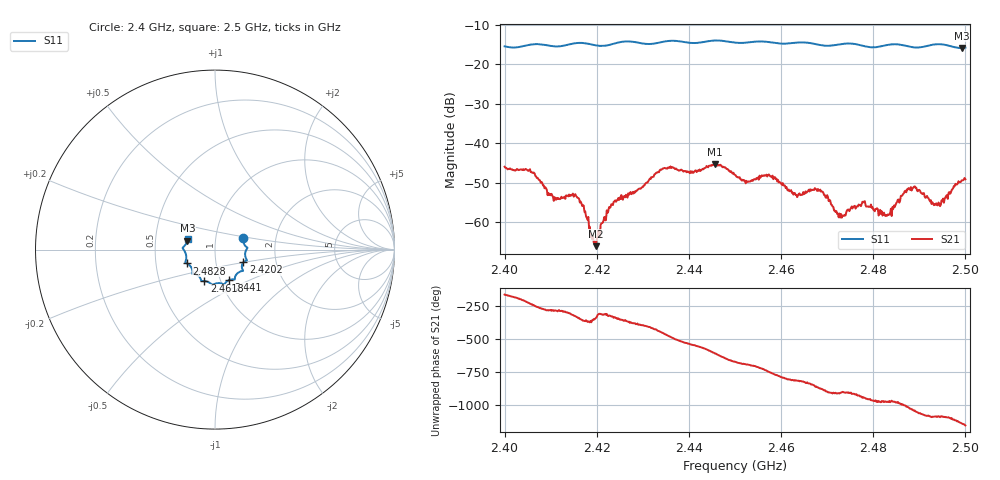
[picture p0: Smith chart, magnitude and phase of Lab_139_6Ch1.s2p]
# Hz S RI R 50
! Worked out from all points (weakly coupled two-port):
!   601 points, 2.4 GHz to 2.5 GHz, reference 50 ohm
!   highest |S21| = -45.37 dB at 2.4457 GHz (marker M1); lowest = -66.2 dB at 2.4198 GHz (marker M2)
!   lowest |S11| = -15.8 dB at 2.4992 GHz (marker M3), VSWR 1.39, Z = 36.5 + j3.67 ohm
!   |S11| at or under -10 dB: start of sweep to end of sweep
!   S12 and S22 are empty: the file has one direction only
!   S11 on the Smith chart (normalised r, x): 2.4 GHz: 1.36, +0.18; 2.4202 GHz: 1.36, -0.20; 2.441 GHz: 1.10, -0.39; 2.4618 GHz: 0.84, -0.30; 2.4828 GHz: 0.72, -0.11; 2.5 GHz: 0.73, +0.09
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2.4e9  0.1576 0.063  -0.00475 -0.00163  0 0  0 0
2.405e9  0.1752 0.0146  -0.00346 0.00293  0 0  0 0
2.411e9  0.1685 -0.0164  0.000387 0.00195  0 0  0 0
2.416667e9  0.1777 -0.0601  0.00171 0.000273  0 0  0 0
2.419833e9  0.1606 -0.0685  0.000449 0.000201  0 0  0 0
2.420167e9  0.1584 -0.0707  0.00047 0.000459  0 0  0 0
2.4235e9  0.1505 -0.1023  0.00141 0.000841  0 0  0 0
2.433333e9  0.1122 -0.1509  0.00105 -0.00419  0 0  0 0
2.441e9  0.0785 -0.1696  -0.00422 0.000295  0 0  0 0
2.445667e9  0.0517 -0.1947  -0.00208 0.00497  0 0  0 0
2.45e9  0.0285 -0.1871  0.00251 0.00305  0 0  0 0
2.457667e9  -0.0226 -0.1899  0.0033 -0.00187  0 0  0 0
2.461833e9  -0.0593 -0.1757  0.000229 -0.00244  0 0  0 0
2.466667e9  -0.0779 -0.1682  -0.00134 -0.00219  0 0  0 0
2.473e9  -0.1202 -0.1351  -0.00126 7.97e-05  0 0  0 0
2.477833e9  -0.1261 -0.117  -0.00139 0.0011  0 0  0 0
2.482833e9  -0.1578 -0.0774  -0.000327 0.00118  0 0  0 0
2.483333e9  -0.1607 -0.0759  -0.000334 0.00118  0 0  0 0
2.487667e9  -0.1606 -0.0533  0.00117 0.00242  0 0  0 0
2.494167e9  -0.1806 0.00872  0.00176 -6.79e-05  0 0  0 0
2.499167e9  -0.1541 0.0489  0.00188 -0.00279  0 0  0 0
2.5e9  -0.1517 0.0611  0.00108 -0.00331  0 0  0 0
